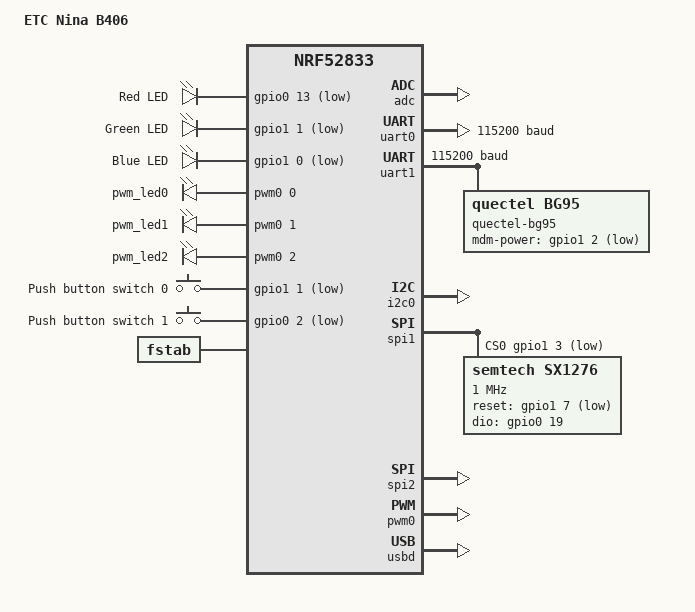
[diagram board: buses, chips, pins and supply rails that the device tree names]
/dts-v1/;
#include <nordic/nrf52833_qiaa.dtsi>
#include <dt-bindings/gpio/gpio.h>
#include "etc_ninab4_pinctrl.dtsi"

/ {
	model = "ETC Nina B406";
	compatible = "etc,ninab4";

	chosen {
		zephyr,console = &uart0;
		zephyr,shell-uart = &uart0;
		zephyr,sram = &sram0;
		zephyr,flash = &flash0;
		zephyr,code-partition = &slot0_partition;
	};

	leds {
		compatible = "gpio-leds";
		led0: led_0 {
			gpios = <&gpio0 13 GPIO_ACTIVE_LOW>;
			label = "Red LED";
		};
		led1: led_1 {
			gpios = <&gpio1 1 GPIO_ACTIVE_LOW>;
			label = "Green LED";
		};
		led2: led_2 {
			gpios = <&gpio1 0 GPIO_ACTIVE_LOW>;
			label = "Blue LED";
		};
	};

	pwmleds {
		compatible = "pwm-leds";
		pwm_led0: pwm_led_0 {
			pwms = <&pwm0 0 PWM_MSEC(20) PWM_POLARITY_INVERTED>;
		};
		pwm_led1: pwm_led_1 {
			pwms = <&pwm0 1 PWM_MSEC(20) PWM_POLARITY_INVERTED>;
		};
		pwm_led2: pwm_led_2 {
			pwms = <&pwm0 2 PWM_MSEC(20) PWM_POLARITY_INVERTED>;
		};
	};

	buttons {
		compatible = "gpio-keys";
		button0: button_0 {
			/* EVK-NINA-B4 SW1 button */
			gpios = <&gpio1 1 (GPIO_PULL_UP | GPIO_ACTIVE_LOW)>;
			label = "Push button switch 0";
		};
		button1: button_1 {
			/* EVK-NINA-B4 SW2 button */
			gpios = <&gpio0 2 (GPIO_PULL_UP | GPIO_ACTIVE_LOW)>;
			label = "Push button switch 1";
		};
	};

	board-control {
		sense_enable: sense-enable {
			compatible = "etc,output";
			control-gpios = <&gpio0 13 GPIO_ACTIVE_HIGH>;
			status = "okay";
		};
		vsens_enable: vsens-enable {
			compatible = "etc,output";
			control-gpios = <&gpio0 23 GPIO_ACTIVE_HIGH>;
			status = "okay";
		};
		sens_sel0: sens-sel0 {
			compatible = "etc,output";
			control-gpios = <&gpio0 9 GPIO_ACTIVE_HIGH>;
			status = "okay";
		};
		sens_sel1: sens-sel1 {
			compatible = "etc,output";
			control-gpios = <&gpio0 10 GPIO_ACTIVE_HIGH>;
			status = "okay";
		};
		rtc_int: rtc-int {
			compatible = "etc,input";
			control-gpios = <&gpio0 3 (GPIO_ACTIVE_LOW | GPIO_PULL_UP)>;
			status = "okay";
		};
		user_btn: user-btn {
			compatible = "etc,input";
			control-gpios = <&gpio1 5 (GPIO_ACTIVE_LOW | GPIO_PULL_UP)>;
			status = "okay";
		};
		hall_int: hall-int {
			compatible = "etc,input";
			control-gpios = <&gpio0 28 (GPIO_ACTIVE_LOW | GPIO_PULL_UP)>;
			status = "okay";
		};
		batt_int: batt-int {
			compatible = "etc,input";
			control-gpios = <&gpio0 11 (GPIO_ACTIVE_LOW | GPIO_PULL_UP)>;
			status = "okay";
		};
	};

	fstab {
		compatible = "zephyr,fstab";
		lfs1: lfs1 {
			compatible = "zephyr,fstab,littlefs";
			mount-point = "/lfs1";
			partition = <&lfs1_part>;
			automount;
			read-size = <16>;
			prog-size = <16>;
			cache-size = <64>;
			lookahead-size = <32>;
			block-cycles = <512>;
		};
	};

	aliases {
		led0 = &led0;
		led1 = &led1;
		led2 = &led2;
		lora0 = &lora;
		sw0 = &button0;
		sw1 = &button1;
		pwm-led0 = &pwm_led0;
		pwm-led1 = &pwm_led1;
		pwm-led2 = &pwm_led2;
	};
};

&adc {
	status = "okay";
};

&gpiote {
	status = "okay";
};

&gpio0 {
	status = "okay";
	label = "GPIO_0";
};

&gpio1 {
	status = "okay";
	label = "GPIO_1";
};

&uart0 {
	compatible = "nordic,nrf-uarte";
	status = "okay";
	label = "UART_0";
	current-speed = <115200>;
	pinctrl-0 = <&uart0_default>;
	pinctrl-1 = <&uart0_sleep>;
	pinctrl-names = "default", "sleep";
};

&uart1 {
	compatible = "nordic,nrf-uarte";
	status = "okay";
	label = "UART_1";
	current-speed = <115200>;
	pinctrl-0 = <&uart1_default>;
	pinctrl-1 = <&uart1_sleep>;
	pinctrl-names = "default", "sleep";

	quectel_bg95 {
		compatible = "quectel,bg95";
		label      = "quectel-bg95";
		status     = "okay";
		mdm-power-gpios = <&gpio1 2 GPIO_ACTIVE_LOW>; /* A5 */
	};
};

&i2c0 {
	compatible = "nordic,nrf-twim";
	status = "okay";
	label = "I2C_0";
	pinctrl-0 = <&i2c0_default>;
	pinctrl-1 = <&i2c0_sleep>;
	pinctrl-names = "default", "sleep";
};

&spi1 {
	compatible = "nordic,nrf-spi";
	status = "okay";
	label = "SPI_1";
	pinctrl-0 = <&spi1_default>;
	pinctrl-1 = <&spi1_sleep>;
	pinctrl-names = "default", "sleep";

	status = "okay";
	cs-gpios = <&gpio1 3 GPIO_ACTIVE_LOW>;

	lora: sx1276@0 {
		compatible = "semtech,sx1276";
		reg = <0>;
		label = "sx1276";
		reset-gpios = <&gpio1 7 GPIO_ACTIVE_LOW>;
		dio-gpios = <&gpio0 19 (GPIO_PULL_DOWN | GPIO_ACTIVE_HIGH)>;
		tcxo-power-startup-delay-ms = <5>;
		spi-max-frequency = <1000000>;
		power-amplifier-output = "pa-boost";
	};
};

&spi2 {
	compatible = "nordic,nrf-spi";
	status = "okay";
	label = "SPI_2";
	pinctrl-0 = <&spi2_default>;
	pinctrl-1 = <&spi2_sleep>;
	pinctrl-names = "default", "sleep";

	cs-gpios = <&gpio0 23 GPIO_ACTIVE_LOW>; /* D2 */
	// mx25l6433: mx25l6433@0 {
	// 	compatible = "jedec,spi-nor";
	// 	reg = <0>;
	// 	spi-max-frequency = <80000000>;
	// 	label = "MX25L6433";
	// 	jedec-id = [c2 20 17];
	// 	size = <0x800000>;
	// };
};

&pwm0 {
	status = "okay";
	label = "PWM_0";
	pinctrl-0 = <&pwm0_default>;
	pinctrl-1 = <&pwm0_sleep>;
	pinctrl-names = "default", "sleep";
};

&flash0 {
	partitions {
		compatible = "fixed-partitions";
		#address-cells = <1>;
		#size-cells = <1>;

		boot_partition: partition@0 {
			label = "mcuboot";
			reg = <0x00000000 0x00010000>;
		};
		slot0_partition: partition@10000 {
			label = "image-0";
			reg = <0x00010000 0x00060000>;
		};
		slot1_partition: partition@70000 {
			label = "image-1";
			reg = <0x00070000 0x1000>;
		};
		lfs1_part: partition@71000 {
			label = "littlefs-storage";
			reg = <0x00071000 0x00006000>;
		};
		storage_partition: partition@77000 {
			label = "storage";
			reg = <0x00077000 0x00007000>;
		};
	};
};

zephyr_udc0: &usbd {
	compatible = "nordic,nrf-usbd";
	status = "okay";

	cdc_acm_uart0: cdc_acm_uart0 {
		compatible = "zephyr,cdc-acm-uart";
		label = "CDC_ACM_0";
	};
};
